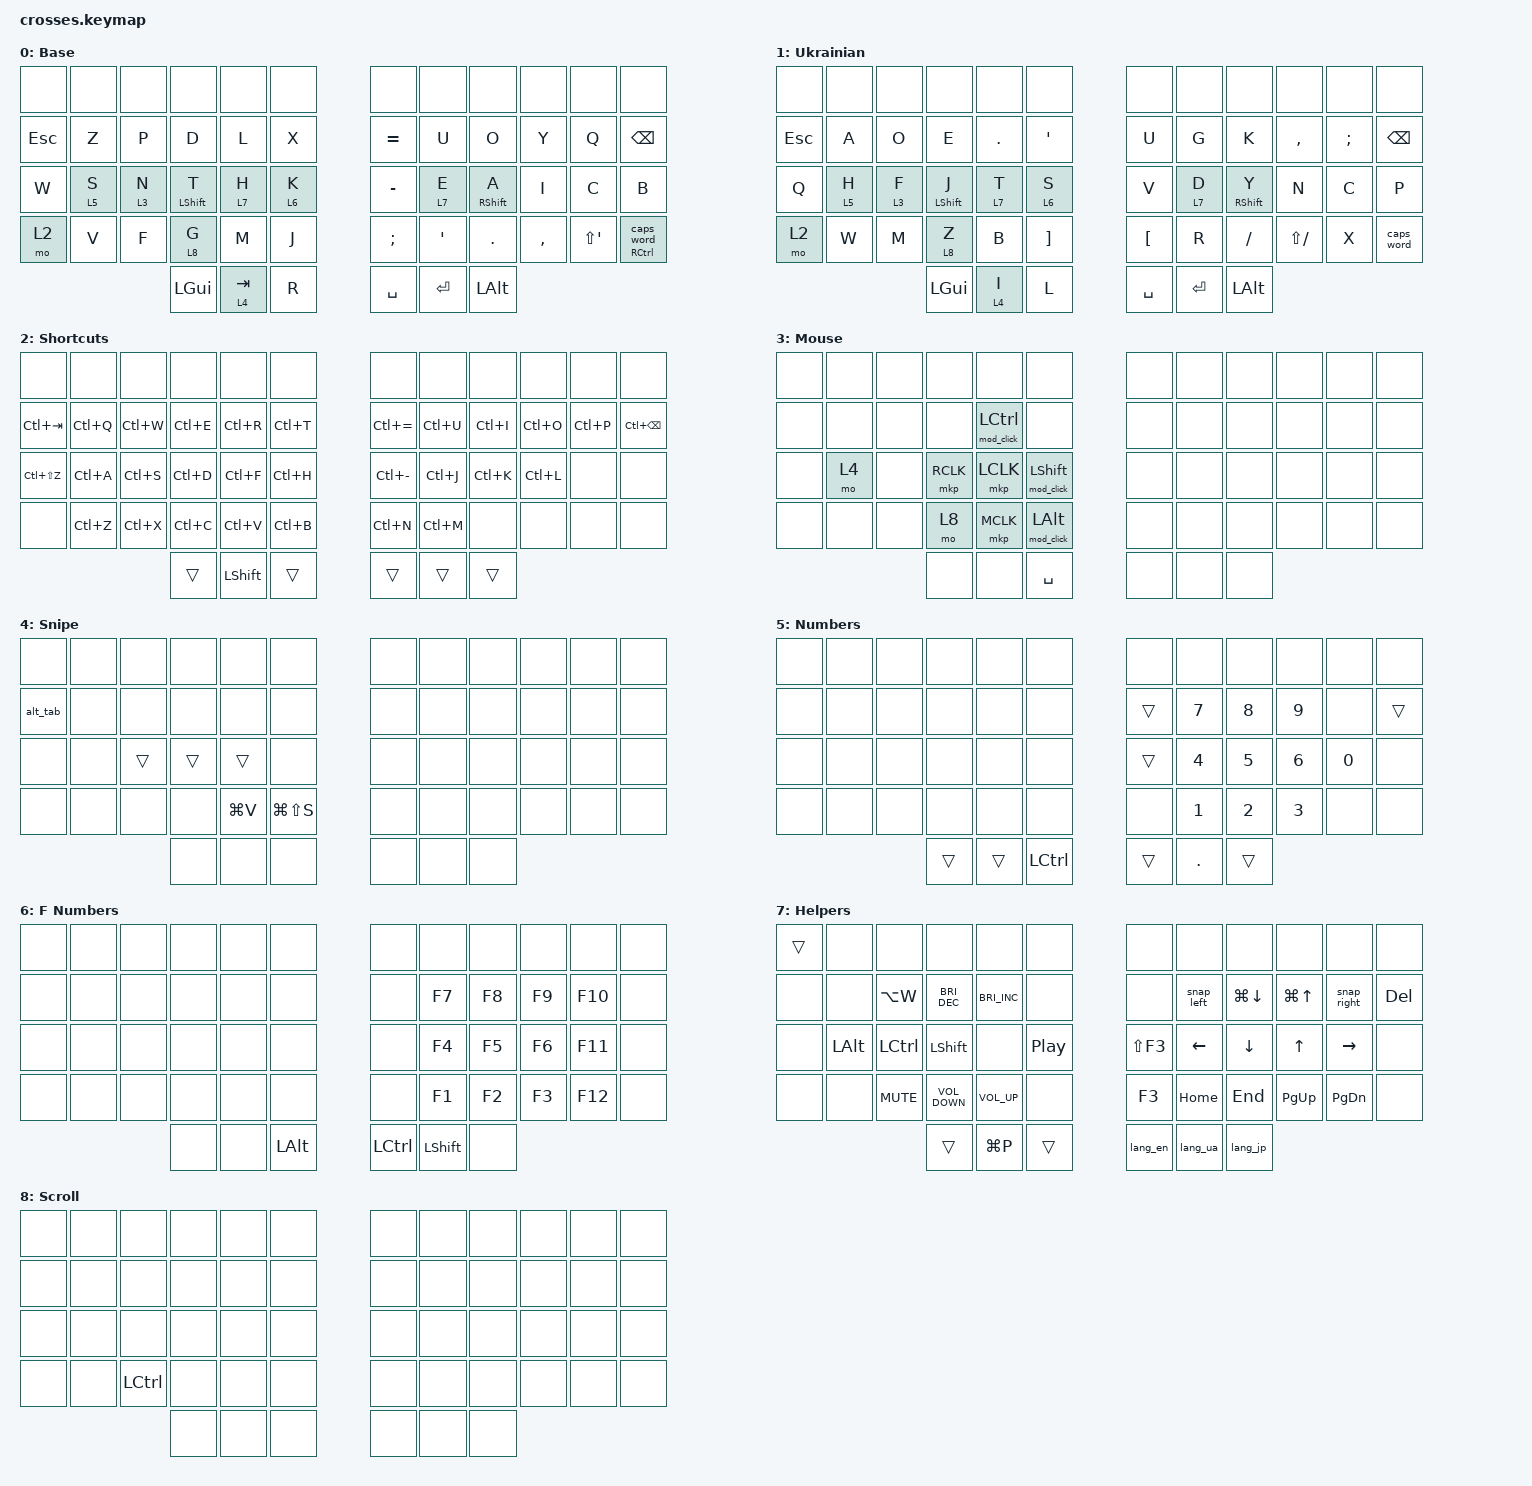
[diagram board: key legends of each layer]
#include <behaviors.dtsi>
#include <dt-bindings/zmk/bt.h>
#include <dt-bindings/zmk/keys.h>
#include <dt-bindings/zmk/pointing.h>
#include <scroll-snap.dtsi>
#include <behaviors/num_word.dtsi>

#define COMBO_TIME_2 40
#define COMBO_TIME_3 60

&caps_word {
	// Tells Caps Word to stay alive if you type an underscore, minus, or backspace
	continue-list = <MINUS LSHIFT BACKSPACE DELETE>;
};

&num_word {
	continue-list = <DOT COMMA BACKSPACE DELETE>;
};

/ {
    macros {
        lang_en: lang_en {
            compatible = "zmk,behavior-macro";
            #binding-cells = <0>;
            bindings = <&kp LC(LS(N1))>, <&macro_pause_for_release>, <&to 0>; 
        };
		
		lang_ua: lang_ua {
            compatible = "zmk,behavior-macro";
            #binding-cells = <0>;
            bindings = <&kp LC(LS(N2))>, <&macro_pause_for_release>, <&to 1>; 
        };
		
		lang_jp: lang_jp {
            compatible = "zmk,behavior-macro";
            #binding-cells = <0>;
            bindings = <&kp LC(LS(N5))>, <&macro_pause_for_release>, <&to 0>; 
        };
		
		snap_left: snap_left {
			compatible = "zmk,behavior-macro";
			#binding-cells = <0>;
			bindings
				= <&macro_press &kp LGUI>
				, <&macro_tap &kp LEFT>
				, <&macro_release &kp LGUI>;
		};

		snap_right: snap_right {
			compatible = "zmk,behavior-macro";
			#binding-cells = <0>;
			bindings
				= <&macro_press &kp LGUI>
				, <&macro_tap &kp RIGHT>
				, <&macro_release &kp LGUI>;
		};
		
		mod_click: mod_click {
            compatible = "zmk,behavior-macro-one-param";
            #binding-cells = <1>;
            wait-ms = <30>;
            tap-ms = <30>;
            
            bindings
                = <&macro_param_1to1>
                , <&macro_press &kp MACRO_PLACEHOLDER>         // 1. Hold Control/Shift down
                , <&macro_press &mkp LCLK>                     // 2. Hold Left Click down
                , <&macro_pause_for_release>                   // 3. WAIT here until the physical key is released
                , <&macro_release &mkp LCLK>                   // 4. Release Left Click
                , <&macro_wait_time 100>                       // Force a 100ms gap before the next action
                , <&macro_param_1to1>                          
                , <&macro_release &kp MACRO_PLACEHOLDER>       // 5. Release Control/Shift
                ;
        };
		
		task_mgr: task_mgr {
            compatible = "zmk,behavior-macro";
            #binding-cells = <0>;
            wait-ms = <10>;
            tap-ms = <10>;
            
            bindings
                = <&macro_press &kp LCTRL>             // 1. Hold Control
                , <&macro_press &kp LSHIFT>            // 2. Hold Shift
                , <&macro_press &kp ESC>               // 3. Hold Escape (Changed from tap)
                , <&macro_pause_for_release>           // 4. WAIT: Hold all 3 until you lift your finger
                , <&macro_release &kp ESC>             // 5. Release Escape
                , <&macro_release &kp LSHIFT>          // 6. Release Shift
                , <&macro_release &kp LCTRL>           // 7. Release Control
                ;
        };
		
		mo_mod: mo_mod {
            compatible = "zmk,behavior-macro-two-param";
            #binding-cells = <2>;
            wait-ms = <0>;
            tap-ms = <0>;
            
            bindings
                = <&macro_param_2to1>                            // 1. Grab Param 2 (The Modifier)
                , <&macro_press &kp MACRO_PLACEHOLDER>           // 2. Inject it and press it down
                , <&macro_param_1to1>                            // 3. Grab Param 1 (The Layer)
                , <&macro_press &mo MACRO_PLACEHOLDER>           // 4. Inject it and activate layer            
                , <&macro_pause_for_release>                     // 5. WAIT here while you hold the combo
                , <&macro_param_1to1>                            // 6. Grab Param 1 (The Layer) again
                , <&macro_release &mo MACRO_PLACEHOLDER>         // 7. Deactivate the layer
                , <&macro_param_2to1>                            // 8. Grab Param 2 (The Modifier) again
                , <&macro_release &kp MACRO_PLACEHOLDER>         // 9. Release the modifier
                ;
        };
		
		mo_cw_break: mo_caps_word_break {
            compatible = "zmk,behavior-macro-one-param";
            #binding-cells = <1>;
            bindings
                = <&macro_tap &kp F24>                    // 1. Instantly kill caps_word
                , <&macro_param_1to1>
                , <&macro_press &mo MACRO_PLACEHOLDER>   // 2. Press your target layer
                , <&macro_pause_for_release>
                , <&macro_param_1to1>
                , <&macro_release &mo MACRO_PLACEHOLDER> // 3. Release the layer
                ;
        };
		

    };
	
	behaviors {
        alt_tab: alt_tab {
            compatible = "zmk,behavior-tri-state";
            #binding-cells = <0>;
            
            // 1st: Toggle Alt ON. 2nd: Tap Tab. 3rd: Toggle Alt OFF on interrupt.
            bindings = <&kt LALT>, <&kp TAB>, <&kt LALT>;
            
            // Optional: If you want to use Shift+Tab to cycle backwards without 
            // closing the menu, you can add the physical key-position of your 
            // Shift key to this array.
            // ignored-key-positions = < >; 
        };
		
		// Home Row Mod for the LEFT hand (Triggers only if a RIGHT hand key is pressed)
        hrm_left: hrm_left {
            compatible = "zmk,behavior-hold-tap";
            #binding-cells = <2>;
            flavor = "balanced";
            tapping-term-ms = <170>;
            quick-tap-ms = <120>;
            require-prior-idle-ms = <120>; // Highly recommended for HRM to prevent mid-word misfires
            bindings = <&kp>, <&kp>;
            // The array of all RIGHT-hand keys
            hold-trigger-key-positions = <6 7 8 9 10 11 18 19 20 21 22 23 30 31 32 33 34 35 42 43 44 45 46 47 51 52 53 49>;
            exclude-prior-idle-key-positions = <12 23 49 51 52>;
        };

        // Home Row Mod for the RIGHT hand (Triggers only if a LEFT hand key is pressed)
        hrm_right: hrm_right {
            compatible = "zmk,behavior-hold-tap";
            #binding-cells = <2>;
            flavor = "balanced";
            tapping-term-ms = <170>;
            quick-tap-ms = <120>;
            require-prior-idle-ms = <120>; 
            bindings = <&kp>, <&kp>;
            // The array of all LEFT-hand keys
            hold-trigger-key-positions = <0 1 2 3 4 5 12 13 14 15 16 17 24 25 26 27 28 29 36 37 38 39 40 41 48 49 50>;
            exclude-prior-idle-key-positions = <12 23 49 51 52>;
        };
		
		// Home Row Mod for the LEFT hand (Triggers only if a RIGHT hand key is pressed)
        mo_left: mo_left {
            compatible = "zmk,behavior-hold-tap";
            #binding-cells = <2>;
            flavor = "balanced";
            tapping-term-ms = <170>;
            require-prior-idle-ms = <120>; // Highly recommended for HRM to prevent mid-word misfires
            bindings = <&mo>, <&kp>;
            // The array of all RIGHT-hand keys
            hold-trigger-key-positions = <6 7 8 9 10 11 18 19 20 21 22 23 30 31 32 33 34 35 42 43 44 45 46 47 51 52 53>;
			hold-trigger-on-release;
        };
		
		// Home Row Mod for the RIGHT hand (Triggers only if a LEFT hand key is pressed)
        mo_right: mo_right {
            compatible = "zmk,behavior-hold-tap";
            #binding-cells = <2>;
            flavor = "balanced";
            tapping-term-ms = <170>;
            require-prior-idle-ms = <120>; 
            bindings = <&mo>, <&kp>;
            // The array of all LEFT-hand keys
            hold-trigger-key-positions = <0 1 2 3 4 5 12 13 14 15 16 17 24 25 26 27 28 29 36 37 38 39 40 41 48 49 50>;
			hold-trigger-on-release;
        };
		
		mo_tab: mo_tab {
            compatible = "zmk,behavior-hold-tap";
            #binding-cells = <2>;
            flavor = "balanced";
            tapping-term-ms = <170>;
            require-prior-idle-ms = <120>; // Highly recommended for HRM to prevent mid-word misfires
            bindings = <&mo>, <&kp>;
            // The array of all RIGHT-hand keys
            hold-trigger-key-positions = <0 5 40 41>;
			hold-trigger-on-release;
        };
		
        mo_mouse: mo_mouse {
            compatible = "zmk,behavior-hold-tap";
            #binding-cells = <2>;
            flavor = "balanced";
            tapping-term-ms = <170>;
            require-prior-idle-ms = <120>; // Highly recommended for HRM to prevent mid-word misfires
            bindings = <&mo>, <&kp>;
            // The array of all RIGHT-hand keys
            hold-trigger-key-positions = <27 28 29 40 41>;
			hold-trigger-on-release;
        };
		
		lt_scroll: layer_tap_scroll {
            compatible = "zmk,behavior-hold-tap";
            #binding-cells = <2>;
            flavor = "tap-preferred";
            tapping-term-ms = <170>;
			require-prior-idle-ms = <120>; 
            bindings = <&mo>, <&kp>;
			hold-trigger-key-positions = <48>; // a key that will certainly not be used for rolling. Everything else should result in tap.
        };
		
        caps_ctrl: caps_ctrl {
            compatible = "zmk,behavior-hold-tap";
            #binding-cells = <2>;
            flavor = "balanced";
            tapping-term-ms = <170>;
            bindings = <&kp>, <&caps_word>;
        };
    };
	
	combos {
        compatible = "zmk,combos";

        combo_nav_shift {
            timeout-ms = <COMBO_TIME_2>;
            key-positions = <27 28>; 
            bindings = <&mo_mod 7 LSHIFT>;
        };

        combo_nav_ctrl {
            timeout-ms = <COMBO_TIME_2>;
            key-positions = <26 28>;
            bindings = <&mo_mod 7 LCTRL>; 
        };
		
        combo_nav_shift_ctrl {
            timeout-ms = <COMBO_TIME_3>;
            key-positions = <26 27 28>; 
            bindings = <&mo_mod 7 LC(LSHIFT)>; 
        };
		
		combo_nav_alt {
            timeout-ms = <COMBO_TIME_2>;
            key-positions = <25 28>; 
            bindings = <&mo_mod 7 LALT>; 
        };
		
		combo_snipe {
            timeout-ms = <COMBO_TIME_2>;
            key-positions = <25 26>; 
            bindings = <&mo 4>;
        };
		
		combo_num_ctrl {
            timeout-ms = <COMBO_TIME_2>;
            key-positions = <29 52>; 
            bindings = <&mo_mod 5 LCTRL>; 
        };
		
		combo_num_f {
            timeout-ms = <COMBO_TIME_2>;
            key-positions = <29 53>; 
            bindings = <&mo 6>; 
        };
		
		combo_shortcut_shift {
            timeout-ms = <COMBO_TIME_2>;
            key-positions = <36 49>; 
            bindings = <&mo_mod 2 LSHIFT>; 
        };
		
		combo_shift_tab {
            timeout-ms = <COMBO_TIME_2>;
            key-positions = <27 49>; 
            bindings = <&kp LS(TAB)>;
        };
		
		combo_colon_ua {
            timeout-ms = <COMBO_TIME_2>;
            key-positions = <26 27>; 
            bindings = <&kp LS(N6)>;
			layers = <1>;
        };
		
		combo_colon_en {
            timeout-ms = <COMBO_TIME_2>;
            key-positions = <26 27>; 
            bindings = <&kp LS(SEMI)>;
			layers = <0>;
        };
        
        combo_plus {
            timeout-ms = <COMBO_TIME_2>;
            key-positions = <31 32>; 
            bindings = <&kp LS(EQUAL)>;
        };
        
        combo_underscore {
            timeout-ms = <COMBO_TIME_2>;
            key-positions = <32 33>; 
            bindings = <&kp LS(MINUS)>;
        };
        
        combo_multiply {
            timeout-ms = <COMBO_TIME_2>;
            key-positions = <33 34>; 
            bindings = <&kp LS(N8)>;
        };
		
		combo_exclamation {
            timeout-ms = <COMBO_TIME_3>;
            key-positions = <25 26 27>; 
            bindings = <&kp LS(N1)>;
        };
        
		combo_slash_ua {
            timeout-ms = <COMBO_TIME_2>;
            key-positions = <31 33>; 
            bindings = <&kp LS(BSLH)>;
			layers = <1>;
        };
		
        combo_slash_en {
            timeout-ms = <COMBO_TIME_2>;
            key-positions = <31 33>; 
            bindings = <&kp FSLH>;
			layers = <0 5>;
        };
        
		combo_question_ua {
            timeout-ms = <COMBO_TIME_2>;
            key-positions = <31 34>; 
            bindings = <&kp LS(N7)>;
			layers = <1>;
        };
		
        combo_question_en {
            timeout-ms = <COMBO_TIME_2>;
            key-positions = <31 34>; 
            bindings = <&kp LS(FSLH)>;
			layers = <0>;
        };
		
		combo_hyphen_ua {
            timeout-ms = <COMBO_TIME_3>;
            key-positions = <31 32 33>; 
            bindings = <&kp MINUS>;
			layers = <1>;
        };
		
		combo_pipe_en {
            timeout-ms = <COMBO_TIME_3>;
            key-positions = <31 32 33>; 
            bindings = <&kp LS(BSLH)>;
			layers = <0 5>;
        };
		
		combo_percent {
            timeout-ms = <COMBO_TIME_3>;
            key-positions = <32 33 34>; 
            bindings = <&kp LS(N5)>;
        };
		
		combo_backslash {
            timeout-ms = <COMBO_TIME_3>;
            key-positions = <43 44 45>; 
            bindings = <&kp BSLH>;
        };
        
		combo_apos_ua {
            timeout-ms = <COMBO_TIME_2>;
            key-positions = <39 40>; 
            bindings = <&kp GRAVE>;
			layers = <1>;
        };
		
		combo_g_ua {
            timeout-ms = <COMBO_TIME_2>;
            key-positions = <43 44>;
            bindings = <&kp NON_US_BSLH>;
			layers = <1>;
        };
		
        combo_brace_left_en {
            timeout-ms = <COMBO_TIME_2>;
            key-positions = <39 40>; 
            bindings = <&kp LS(LBKT)>;
			layers = <0>;
        };
		
        combo_brace_right_en {
            timeout-ms = <COMBO_TIME_2>;
            key-positions = <43 44>; 
            bindings = <&kp LS(RBKT)>;
			layers = <0>;
        };
		
		combo_semi_ua {
            timeout-ms = <COMBO_TIME_2>;
            key-positions = <37 38>;
            bindings = <&kp LS(N4)>;
			layers = <1>;
        };
		
		combo_quotes_ua {
            timeout-ms = <COMBO_TIME_2>;
            key-positions = <45 46>; 
            bindings = <&kp LS(N2)>;
			layers = <1>;
        };
        
        combo_square_left_en {
            timeout-ms = <COMBO_TIME_2>;
            key-positions = <37 38>; 
            bindings = <&kp LBKT>;
			layers = <0>;
        };
        
        combo_square_right_en {
            timeout-ms = <COMBO_TIME_2>;
            key-positions = <45 46>; 
            bindings = <&kp RBKT>;
			layers = <0>;
        };
        
        combo_parentreses_left {
            timeout-ms = <COMBO_TIME_2>;
            key-positions = <38 39>; 
            bindings = <&kp LS(N9)>;
        };
        
        combo_paretheses_right {
            timeout-ms = <COMBO_TIME_2>;
            key-positions = <44 45>; 
            bindings = <&kp LS(N0)>;
        };
        
        combo_hat {
            timeout-ms = <COMBO_TIME_2>;
            key-positions = <37 40>; 
            bindings = <&kp LS(N6)>;
        };
		
		combo_equals_ua {
            timeout-ms = <COMBO_TIME_2>;
            key-positions = <43 46>; 
            bindings = <&kp EQUAL>;
			layers = <1>;
        };
        
        combo_ampersand_en {
            timeout-ms = <COMBO_TIME_2>;
            key-positions = <43 46>; 
            bindings = <&kp LS(N7)>;
			layers = <0 5>;
        };
        
        combo_less {
            timeout-ms = <COMBO_TIME_2>;
            key-positions = <38 40>; 
            bindings = <&kp LS(COMMA)>;
        };
        
        combo_more {
            timeout-ms = <COMBO_TIME_2>;
            key-positions = <43 45>; 
            bindings = <&kp LS(DOT)>;
        };
		
		combo_hash {
            timeout-ms = <COMBO_TIME_3>;
            key-positions = <37 38 39>; 
            bindings = <&kp LS(N3)>;
        };
		
        combo_tilde {
            timeout-ms = <COMBO_TIME_3>;
            key-positions = <38 39 40>; 
            bindings = <&kp LS(GRAVE)>;
        };
		        
        combo_grave {
            timeout-ms = <COMBO_TIME_3>;
            key-positions = <44 45 46>;
            bindings = <&kp GRAVE>;
        };
		
		combo_uah_ua {
            timeout-ms = <COMBO_TIME_2>;
            key-positions = <14 15>;
            bindings = <&kp LS(GRAVE)>;
			layers = <1>;
        };
        
        combo_dollar_en {
            timeout-ms = <COMBO_TIME_2>;
            key-positions = <14 15>;
            bindings = <&kp LS(N4)>;
			layers = <0>;
        };
        
        combo_at {
            timeout-ms = <COMBO_TIME_2>;
            key-positions = <20 21>; 
            bindings = <&kp LS(N2)>;
        };
    };

    chosen { zmk,physical-layout = &gggw_crosses_54_layout; };

    keymap {
        compatible = "zmk,keymap";
        base_layer {
            display-name = "Base";
            bindings = <
                &none &none &none &none &none &none   &none &none  &none     &none   &none    &none
                &kp ESC   &kp Z  &kp P  &kp D  &kp L  &kp X    &kp EQUAL &kp U  &kp O     &kp Y   &kp Q    &kp BSPC
                &kp W &mo_left 5 S  &mo_mouse 3 N  &hrm_left LSHIFT T  &mo_left 7 H  &mo_left 6 K    &kp MINUS &mo_right 7 E  &hrm_right RSHIFT A  &kp I   &kp C &kp B
                &mo 2 &kp V  &kp F  &lt_scroll 8 G  &kp M  &kp J    &kp SEMI &kp APOS  &kp DOT &kp COMMA &kp LS(APOS) &caps_ctrl RCTRL 0
                        &kp LGUI   &mo_tab 4 TAB    &kp R    &kp SPACE    &kp RET    &kp LALT
            >;
        };
		
		ua_layer {
            display-name = "Ukrainian";
            bindings = <
                &none &none &none &none &none &none   &none &none  &none     &none   &none    &none
                &kp ESC   &kp A  &kp O  &kp E  &kp DOT  &kp APOS    &kp U &kp G  &kp K     &kp COMMA   &kp SEMI    &kp BSPC
                &kp Q &mo_left 5 H  &mo_mouse 3 F  &hrm_left LSHIFT J  &mo_left 7 T  &mo_right 6 S    &kp V &mo_right 7 D  &hrm_right RSHIFT Y  &kp N   &kp C &kp P
                &mo 2 &kp W  &kp M  &lt_scroll 8 Z  &kp B  &kp RIGHT_BRACKET    &kp LEFT_BRACKET  &kp R  &kp FSLH &kp LS(FSLH) &kp X &caps_word
                        &kp LGUI   &mo_tab 4 I    &kp L    &kp SPACE    &kp RET    &kp LALT
            >;
        };

        shortcuts_layer {
            display-name = "Shortcuts";
            bindings = <
                &none &none &none &none &none &none   &none &none  &none     &none   &none    &none
                &kp LC(TAB)    &kp LC(Q)     &kp LC(W)     &kp LC(E)     &kp LC(R)     &kp LC(T)     &kp LC(EQUAL)   &kp LC(U) &kp LC(I)   &kp LC(O)    &kp LC(P) &kp LC(BSPC)
                &kp LC(LS(Z))    &kp LC(A)     &kp LC(S)     &kp LC(D)     &kp LC(F)     &kp LC(H)      &kp LC(MINUS)    &kp LC(J)   &kp LC(K)   &kp LC(L)  &none   &none
                &none    &kp LC(Z)     &kp LC(X)    &kp LC(C)     &kp LC(V)     &kp LC(B)      &kp LC(N)   &kp LC(M)    &none    &none   &none   &none
                                            &trans     &kp LSHIFT       &trans      &trans  &trans   &trans
            >;
        };

        mouse_layer {
            display-name = "Mouse";
            bindings = <
                &none         &none     &none     &none     &none     &none     &none       &none     &none       &none       &none       &none
                &none         &none     &none     &none     &mod_click LCTRL     &none     &none       &none     &none       &none       &none       &none
                &none     &mo 4     &none     &mkp RCLK  &mkp LCLK    &mod_click LSHFT    &none    &none    &none   &none    &none    &none
                &none      &none    &none     &mo 8     &mkp MCLK     &mod_click LALT     &none     &none       &none     &none       &none       &none
                                                     &none         &none     &kp SPACE     &none     &none     &none     
            >;
        };
		
		snipe_layer {
			display-name = "Snipe";
			bindings = <
                &none         &none     &none     &none     &none     &none     &none       &none     &none       &none       &none       &none
                &alt_tab         &none     &none     &none     &none     &none     &none       &none     &none       &none       &none       &none
                &none         &none     &trans  &trans  &trans  &none     &none  &none      &none      &none   &none       &none
                &none         &none     &none     &none     &kp LG(V)   &kp LG(LS(S))     &none           &none    &none   &none   &none       &none
                                                     &none     &none     &none     &none       &none     &none     
            >;
		};
		
		num_layer {
			display-name = "Numbers";
			bindings = <
                &none         &none     &none     &none     &none     &none     &none       &none     &none       &none       &none       &none
                &none         &none      &none     &none       &none     &none       &trans     &kp N7     &kp N8     &kp N9      &none       &trans
                &none         &none      &none  &none    &none  &none     &trans                &kp N4     &kp N5     &kp N6     &kp N0  &none
                &none         &none     &none     &none    &none  &none     &none             &kp N1     &kp N2     &kp N3       &none  &none
                                                     &trans     &trans     &kp LCTRL     &trans   &kp DOT       &trans
            >;
		};
		
		ctrl_num_layer {
			display-name = "F Numbers";
			bindings = <
                &none         &none     &none     &none     &none     &none     &none       &none     &none       &none       &none       &none
                &none             &none     &none     &none       &none     &none       &none     &kp F7     &kp F8     &kp F9     &kp F10    &none
                &none          &none     &none     &none       &none     &none       &none        &kp F4     &kp F5     &kp F6  &kp F11    &none
                &none         &none     &none       &none     &none       &none       &none      &kp F1     &kp F2     &kp F3    &kp F12    &none
                                                                &none     &none    &kp LALT     &kp LCTRL       &kp LSHFT     &none
            >;
		};
		
		helpers_layer {
            display-name = "Helpers";
            bindings = <
                &trans   &none     &none     &none     &none     &none     &none       &none     &none       &none       &none    &none
                &none		&none    &kp LA(W)       &kp C_BRI_DEC   &kp C_BRI_INC   &none    &none    &snap_left   &kp LG(DOWN)   &kp LG(UP)   &snap_right    &kp DEL
                &none   &kp LALT   &kp LCTRL    &kp LSHIFT       &none    &kp C_PLAY_PAUSE     &kp LS(F3)       &kp LEFT    &kp DOWN    &kp UP   &kp RIGHT       &none
                &none  &none   &kp C_MUTE   &kp C_VOLUME_DOWN    &kp C_VOLUME_UP      &none     &kp F3    &kp HOME   &kp END     &kp PAGE_UP    &kp PAGE_DOWN   &none
                                                     &trans   &kp LG(P)   &trans     &lang_en    &lang_ua    &lang_jp     
            >;
        };
		
		scroll_layer {
			display-name = "Scroll";
			bindings = <
                &none         &none     &none     &none     &none     &none     &none       &none     &none       &none       &none       &none
                &none         &none     &none     &none     &none     &none     &none       &none     &none       &none       &none       &none
                &none         &none     &none     &none     &none     &none     &none       &none     &none       &none       &none       &none
                &none         &none     &kp LCTRL     &none     &none     &none     &none       &none     &none       &none       &none       &none
                                                     &none     &none     &none     &none       &none     &none     
            >;
		};
    };
};
